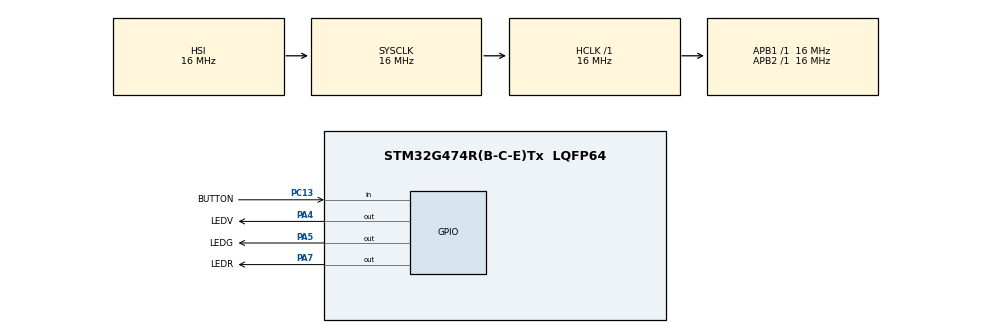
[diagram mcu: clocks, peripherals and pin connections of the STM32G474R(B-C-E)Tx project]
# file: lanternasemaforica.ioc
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Mcu.Family=STM32G4
Mcu.Name=STM32G474R(B-C-E)Tx
Mcu.Package=LQFP64
NVIC.PriorityGroup=NVIC_PRIORITYGROUP_4
PA4.GPIO_Label=LEDV
PA4.Signal=GPIO_Output
PA5.GPIO_Label=LEDG
PA5.Signal=GPIO_Output
PA7.GPIO_Label=LEDR
PA7.Signal=GPIO_Output
PC13.GPIO_Label=BUTTON
PC13.Signal=GPIO_Input
ProjectManager.HeapSize=0x200
ProjectManager.StackSize=0x400
ProjectManager.TargetToolchain=STM32CubeIDE
RCC.AHBFreq_Value=16000000
RCC.APB1Freq_Value=16000000
RCC.APB1TimFreq_Value=16000000
RCC.APB2Freq_Value=16000000
RCC.APB2TimFreq_Value=16000000
RCC.CortexFreq_Value=16000000
RCC.EXTERNAL_CLOCK_VALUE=12288000
RCC.HCLKFreq_Value=16000000
RCC.HSE_VALUE=8000000
RCC.HSI48_VALUE=48000000
RCC.HSI_VALUE=16000000
RCC.LSE_VALUE=32768
RCC.SYSCLKFreq_VALUE=16000000
RCC.USBFreq_Value=64000000
RCC.VCOOutputFreq_Value=128000000
VP_SYS_VS_DBSignals.Mode=DisableDeadBatterySignals
board=custom

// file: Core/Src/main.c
/* USER CODE BEGIN Header */
/**
  ******************************************************************************
  * @file           : main.c
  * @brief          : Main program body
  ******************************************************************************
  * @attention
  *
  * Copyright (c) 2026 STMicroelectronics.
  * All rights reserved.
  *
  * This software is licensed under terms that can be found in the LICENSE file
  * in the root directory of this software component.
  * If no LICENSE file comes with this software, it is provided AS-IS.
  *
  ******************************************************************************
  */
/* USER CODE END Header */
#include "main.h"
#include "gpio.h"

/* USER CODE BEGIN Includes */
#include "fsm_logic.h"
/* USER CODE END Includes */

/* USER CODE BEGIN PD */
#define FYS_CYCLE_DURATION (10)
/* USER CODE END PD */

void SystemClock_Config(void);

int main(void)
{

  /* USER CODE BEGIN 1 */
  led_t led_rosso;
  led_t led_giallo;
  led_t led_verde;
  button_t button;

  /* USER CODE END 1 */

  /* MCU Configuration--------------------------------------------------------*/

  /* Reset of all peripherals, Initializes the Flash interface and the Systick. */
  HAL_Init();

  /* Configure the system clock */
  SystemClock_Config();

  /* Initialize all configured peripherals */
  MX_GPIO_Init();
  /* USER CODE BEGIN 2 */
  if(led_init(&led_rosso, LEDR_GPIO_Port, LEDR_Pin, LED_INIT_STATE_OFF) != LED_OK){
    return -1;
  }
  if(led_init(&led_giallo, LEDG_GPIO_Port, LEDG_Pin, LED_INIT_STATE_OFF) != LED_OK){
    return -1;
  }
  if(led_init(&led_verde, LEDV_GPIO_Port, LEDV_Pin, LED_INIT_STATE_OFF) != LED_OK){
    return -1;
  }
  if(button_init(&button, BUTTON_GPIO_Port, BUTTON_Pin, BUTTON_INIT_STATE_OFF) != BUTTON_OK){
    return -1;
  }
  if(FSM_init(&led_rosso, &led_giallo, &led_verde, &button, FYS_CYCLE_DURATION) != FSM_OK){
    return -1;
  }
  /* USER CODE END 2 */

  /* Infinite loop */
  /* USER CODE BEGIN WHILE */
  while (1)
  {
    if(FSM_step() != FSM_OK)
      return -1;
    /* USER CODE END WHILE */

  }
}

void SystemClock_Config(void)
{
  RCC_OscInitTypeDef RCC_OscInitStruct = {0};
  RCC_ClkInitTypeDef RCC_ClkInitStruct = {0};

  /** Configure the main internal regulator output voltage
  */
  HAL_PWREx_ControlVoltageScaling(PWR_REGULATOR_VOLTAGE_SCALE1);

  /** Initializes the RCC Oscillators according to the specified parameters
  * in the RCC_OscInitTypeDef structure.
  */
  RCC_OscInitStruct.OscillatorType = RCC_OSCILLATORTYPE_HSI;
  RCC_OscInitStruct.HSIState = RCC_HSI_ON;
  RCC_OscInitStruct.HSICalibrationValue = RCC_HSICALIBRATION_DEFAULT;
  RCC_OscInitStruct.PLL.PLLState = RCC_PLL_NONE;
  if (HAL_RCC_OscConfig(&RCC_OscInitStruct) != HAL_OK)
  {
    Error_Handler();
  }

  /** Initializes the CPU, AHB and APB buses clocks
  */
  RCC_ClkInitStruct.ClockType = RCC_CLOCKTYPE_HCLK|RCC_CLOCKTYPE_SYSCLK
                              |RCC_CLOCKTYPE_PCLK1|RCC_CLOCKTYPE_PCLK2;
  RCC_ClkInitStruct.SYSCLKSource = RCC_SYSCLKSOURCE_HSI;
  RCC_ClkInitStruct.AHBCLKDivider = RCC_SYSCLK_DIV1;
  RCC_ClkInitStruct.APB1CLKDivider = RCC_HCLK_DIV1;
  RCC_ClkInitStruct.APB2CLKDivider = RCC_HCLK_DIV1;

  if (HAL_RCC_ClockConfig(&RCC_ClkInitStruct, FLASH_LATENCY_0) != HAL_OK)
  {
    Error_Handler();
  }
}

void Error_Handler(void)
{
  __disable_irq();
  while (1)
  {
  }
}
